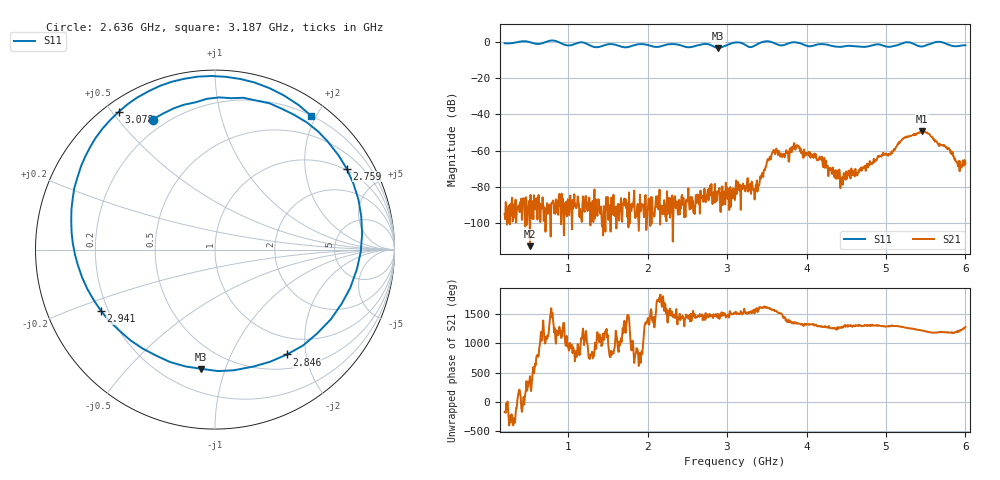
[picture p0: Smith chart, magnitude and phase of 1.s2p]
! NanoVNA-App by OneOfEleven et al v1.1.209 (+OD15)
! Date: 2024-07-30 15:11:25
! Start: 200MHz Stop: 6GHz Points: 801
! S-Parameter data: F S11 S21 S12 S22
# Hz S RI R 50
!  Frequency  S11_Real  S11_Imag  S21_Real  S21_Imag  S12_Real  S12_Imag  S22_Real  S22_Imag
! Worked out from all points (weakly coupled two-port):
!   801 points, 200 MHz to 6 GHz, reference 50 ohm
!   highest |S21| = -49.19 dB at 5.449 GHz (marker M1); lowest = -112.7 dB at 519 MHz (marker M2)
!   lowest |S11| = -3.5 dB at 2.882 GHz (marker M3), VSWR 5.04, Z = 17.3 - j41.5 ohm
!   |S11| at or under -10 dB: nowhere
!   S12 and S22 are empty: the file has one direction only
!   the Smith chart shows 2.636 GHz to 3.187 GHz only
!   S11 on the Smith chart (normalised r, x): 2.636 GHz: 0.15, +0.62; 2.759 GHz: 0.94, +3.29; 2.846 GHz: 0.71, -1.67; 2.941 GHz: 0.17, -0.24; 3.078 GHz: 0.04, +0.52; 3.187 GHz: 0.20, +1.93
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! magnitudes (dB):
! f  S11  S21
! 200 MHz  -0.8  -95.0
! 519 MHz  -0.2  -112.7
! 1.171 GHz  -0.3  -99.3
! 2.136 GHz  -2.8  -92.4
! 2.636 GHz  -1.9  -85.3
! 2.759 GHz  -1.3  -81.5
! 2.846 GHz  -3.0  -78.4
! 2.882 GHz  -3.5  -82.6
! 2.941 GHz  -2.8  -79.7
! 3.078 GHz  -0.6  -80.8
! 3.1 GHz  -0.4  -87.3
! 3.187 GHz  -0.7  -81.2
! 3.376 GHz  -1.5  -76.4
! 3.593 GHz  -0.7  -61.0
! 3.752 GHz  -1.2  -60.8
! 3.869 GHz  -0.3  -58.7
! 4.072 GHz  -2.3  -63.1
! 4.456 GHz  -2.7  -78.8
! 5.036 GHz  -2.8  -61.9
! 5.449 GHz  -2.6  -49.2
! 5.928 GHz  -2.2  -71.3
! 6 GHz  -1.9  -67.2
